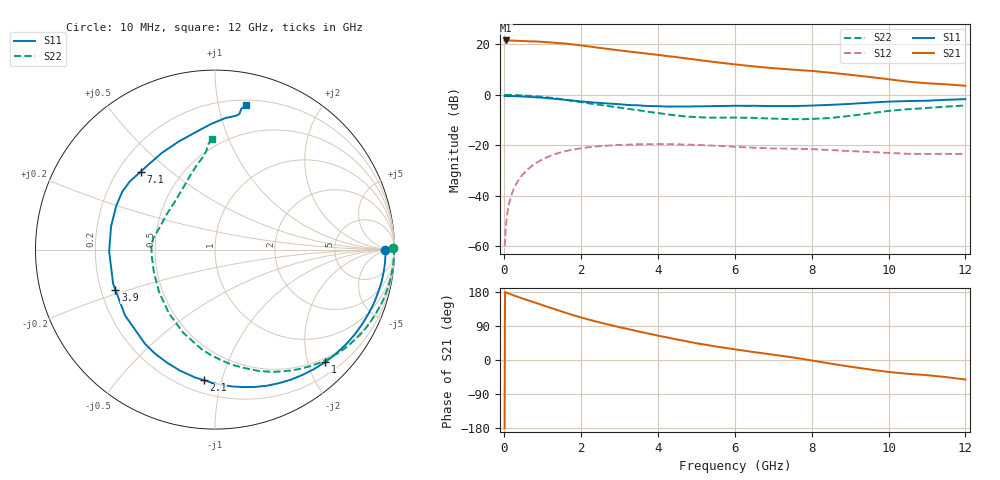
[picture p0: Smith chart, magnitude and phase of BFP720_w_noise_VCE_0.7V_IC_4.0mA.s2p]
! Infineon Technologies  Discrete & RF Semiconductors
! BFP720
! VCE =  0.7 V,  IC =  4.0 mA
! Common Emitter S-Parameters:  Aug 2012
# GHz  S  MA  R  50
!  f  S11  S21  S12  S22
! GHz  MAG  ANG  MAG  ANG  MAG  ANG  MAG  ANG
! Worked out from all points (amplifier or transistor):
!   105 points, 10 MHz to 12 GHz, reference 50 ohm
!   highest |S21| = 21.6 dB at 50 MHz (marker M1)
!   |S21| within 3 dB of that: start of sweep to 2.512 GHz
!   unconditionally stable (mu >= 1): 7.156 GHz to end of sweep
!   at 300 MHz: K = 0.03, MSG = 28.6 dB, |S12| = -35.7 dB
!   at 3.6 GHz: K = 0.42, MSG = 18.1 dB, |S12| = -19.6 dB
!   at 12 GHz: K = 1.06, MAG = 12.0 dB, |S12| = -23.5 dB
!   lowest NFmin = 0.37 dB at 450 MHz
!   S11 on the Smith chart (normalised r, x): 10 MHz: 37, -2; 1 GHz: 0.42, -2.31; 2.1 GHz: 0.28, -0.88; 3.9 GHz: 0.26, -0.18; 7.1 GHz: 0.29, +0.40; 12 GHz: 0.24, +1.21
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0.01  0.9478 -0.2  11.91 -179.6  0.001 -56.6  0.9891 0.5
0.02  0.9518 -0.8  11.83 179.0  0.0012 89.7  0.9979 -0.7
0.05  0.9501 -2.2  12.01 177.9  0.0027 85.9  0.997 -1.8
0.12  0.9492 -5.4  11.99 175.4  0.0067 86.6  0.997 -4.3
0.3  0.9415 -13.5  11.86 168.6  0.0165 81.4  0.9892 -10.8
0.8  0.8995 -36.4  11.5 151.5  0.0432 66.8  0.9431 -28.9
1  0.8772 -45.7  11.25 144.7  0.0529 60.9  0.9134 -36.3
1.3  0.8387 -59.8  10.83 134.6  0.066 52.1  0.8604 -47.1
1.6  0.796 -74.1  10.41 124.5  0.0768 43.8  0.7988 -57.3
2.1  0.7301 -95.0  9.348 109.5  0.0896 31.3  0.6986 -73.0
2.6  0.6835 -113.3  8.346 96.2  0.0978 20.9  0.6161 -87.0
3  0.6534 -126.8  7.646 86.5  0.102 13.6  0.5607 -97.6
3.5  0.621 -143.9  6.895 75.1  0.1049 5.3  0.4955 -111.0
3.9  0.5985 -157.9  6.335 66.6  0.1055 -0.7  0.4468 -122.6
4.1  0.5924 -164.9  6.079 62.3  0.1055 -3.6  0.4256 -129.0
5  0.5933 167.5  4.993 44.2  0.102 -15.4  0.3625 -160.0
6.1  0.6081 146.7  3.952 26.7  0.0928 -25.1  0.3538 175.8
7.1  0.6 133.7  3.342 12.6  0.0863 -30.0  0.3366 162.2
8.5  0.6348 108.7  2.75 -9.7  0.0805 -38.6  0.3484 130.0
9.5  0.7007 91.7  2.273 -24.8  0.074 -42.0  0.4309 109.2
10.5  0.754 81.2  1.831 -36.4  0.0679 -43.3  0.5198 97.5
12  0.8239 77.8  1.517 -51.6  0.0669 -45.2  0.6175 91.8
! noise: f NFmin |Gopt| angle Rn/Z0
0.45  0.37  0.56  4  0.21
1.8  0.49  0.52  27  0.15
2.4  0.52  0.39  66  0.2
5.5  0.72  0.26  73  0.11
10  1.02  0.41  -96  0.21
